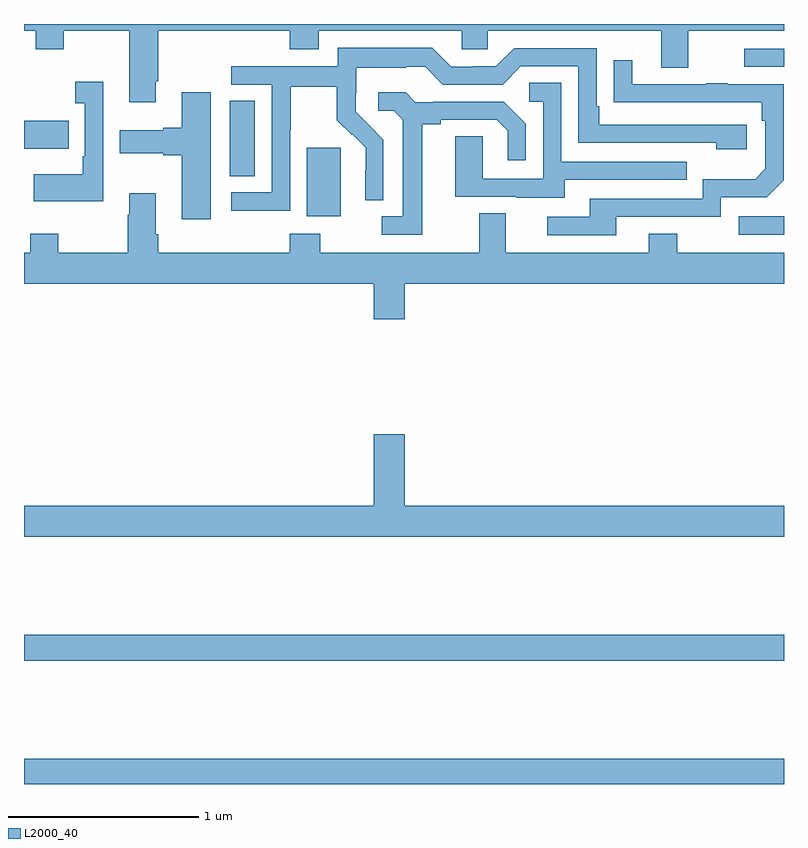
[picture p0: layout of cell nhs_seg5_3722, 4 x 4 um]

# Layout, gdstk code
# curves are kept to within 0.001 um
import gdstk
lib = gdstk.Library(unit=1e-6, precision=1e-09)
def R(c, l, rs):  # rectangles x0, y0, x1, y1
    for r in rs: c.add(gdstk.rectangle(r[:2], r[2:], *l))
def P(c, l, *ps):  # polygons
    for p in ps: c.add(gdstk.Polygon(p, *l))
L2000_40 = (2000, 40)

nhs_seg5_3722 = lib.new_cell('nhs_seg5_3722')
R(nhs_seg5_3722, L2000_40, [(331,848.799,335,848.932), (331,849.448,335,849.584), (334.761,851.691,335,851.787), (332.489,851.786,332.668,852.147), (332.084,851.998,332.215,852.395), (331,852.143,331.235,852.291), (334.791,852.573,335,852.669)])
P(nhs_seg5_3722, L2000_40, [(331.693,852.499),(331.706,852.499),(331.706,852.764),(332.399,852.764),(332.399,852.665),(332.551,852.665),(332.551,852.764),(333.303,852.764),(333.303,852.666),(333.441,852.666),(333.441,852.764),(334.355,852.764),(334.355,852.57),(334.495,852.57),(334.495,852.764),(335,852.764),(335,852.799),(331,852.799),(331,852.764),(331.061,852.764),(331.061,852.665),(331.209,852.665),(331.209,852.764),(331.553,852.764),(331.553,852.387),(331.693,852.387)],
  [(332.4,852.244),(332.403,852.244),(332.403,852.468),(332.647,852.468),(332.647,852.293),(332.724,852.216),(332.727,852.219),(332.798,852.149),(332.798,852.026),(332.796,852.026),(332.796,851.872),(332.892,851.872),(332.892,852.19),(332.746,852.338),(332.746,852.435),(332.748,852.435),(332.748,852.569),(333.011,852.569),(333.011,852.573),(333.111,852.573),(333.204,852.48),(333.519,852.48),(333.615,852.576),(333.918,852.576),(333.918,852.174),(334.643,852.174),(334.643,852.14),(334.804,852.14),(334.804,852.27),(334.027,852.27),(334.027,852.367),(334.014,852.367),(334.014,852.672),(333.579,852.672),(333.483,852.576),(333.365,852.576),(333.365,852.573),(333.249,852.573),(333.149,852.673),(332.652,852.673),(332.652,852.576),(332.091,852.576),(332.091,852.48),(332.304,852.48),(332.304,851.913),(332.091,851.913),(332.091,851.815),(332.4,851.815)],
  [(334.117,851.784),(334.668,851.784),(334.668,851.886),(334.908,851.886),(334.998,851.976),(334.998,852.483),(334.703,852.483),(334.703,852.488),(334.591,852.488),(334.591,852.483),(334.201,852.483),(334.201,852.607),(334.105,852.607),(334.105,852.388),(334.882,852.387),(334.882,852.29),(334.902,852.29),(334.902,852.036),(334.849,851.983),(334.572,851.983),(334.572,851.88),(333.977,851.88),(333.977,851.784),(333.753,851.784),(333.753,851.688),(334.117,851.688)],
  [(331.416,852.496),(331.269,852.496),(331.269,852.383),(331.32,852.383),(331.32,852.103),(331.308,852.103),(331.308,852.007),(331.051,852.007),(331.051,851.867),(331.416,851.867)],
  [(333.847,851.979),(334.487,851.979),(334.487,852.075),(333.828,852.075),(333.828,852.491),(333.66,852.491),(333.66,852.39),(333.732,852.39),(333.732,851.985),(333.414,851.985),(333.414,852.209),(333.269,852.209),(333.269,851.889),(333.593,851.889),(333.593,851.885),(333.847,851.885)],
  [(331.984,852.439),(331.829,852.439),(331.829,852.254),(331.733,852.254),(331.733,852.241),(331.503,852.241),(331.503,852.119),(331.733,852.119),(331.733,852.107),(331.829,852.107),(331.829,851.772),(331.984,851.772)],
  [(333.097,852.272),(333.193,852.272),(333.193,852.294),(333.488,852.294),(333.545,852.237),(333.545,852.081),(333.642,852.081),(333.642,852.274),(333.526,852.39),(333.154,852.39),(333.154,852.387),(333.06,852.387),(333.008,852.439),(332.865,852.439),(332.865,852.342),(332.946,852.342),(332.993,852.295),(332.993,851.787),(332.883,851.787),(332.883,851.691),(333.097,851.691)],
  [(333.004,851.432),(335,851.432),(335,851.596),(334.437,851.596),(334.437,851.695),(334.289,851.695),(334.289,851.596),(333.535,851.596),(333.535,851.804),(333.395,851.804),(333.395,851.596),(332.559,851.596),(332.559,851.695),(332.399,851.695),(332.399,851.596),(331.706,851.596),(331.706,851.692),(331.693,851.692),(331.693,851.908),(331.553,851.908),(331.553,851.795),(331.546,851.795),(331.546,851.596),(331.179,851.596),(331.179,851.695),(331.032,851.695),(331.032,851.596),(331,851.596),(331,851.432),(332.84,851.432),(332.84,851.244),(333.004,851.244)],
  [(335,850.264),(333.004,850.264),(333.004,850.639),(332.84,850.639),(332.84,850.264),(331,850.264),(331,850.1),(335,850.1)])

lib.write_gds('nhs_seg5_3722.gds')
